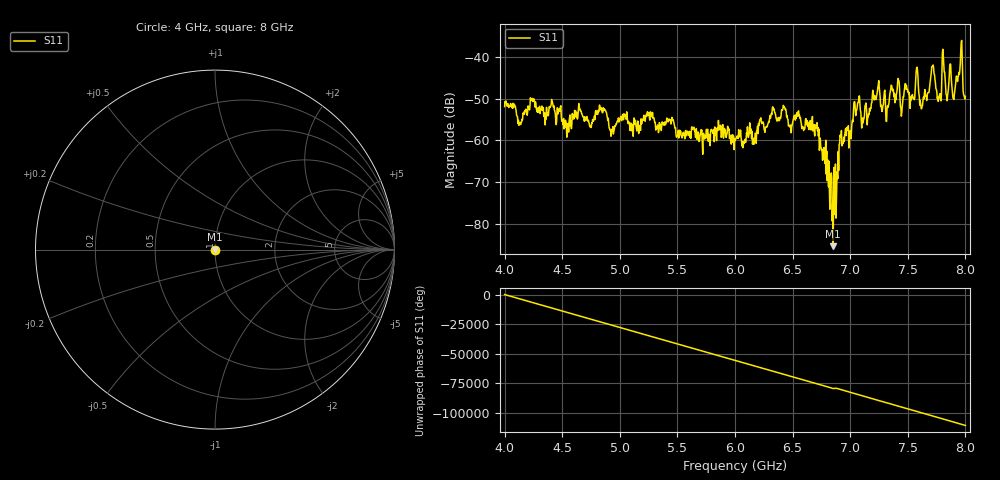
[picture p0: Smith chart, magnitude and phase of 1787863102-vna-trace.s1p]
! Created with skrf 1.10.0 (http://scikit-rf.org).
# Hz S RI R 50.0
!freq ReS11 ImS11
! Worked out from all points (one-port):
!   1001 points, 4 GHz to 8 GHz, reference 50 ohm
!   lowest |S11| = -85.4 dB at 6.852 GHz (marker M1), VSWR 1.00, Z = 50 - j0.00457 ohm
!   |S11| at or under -10 dB: start of sweep to end of sweep
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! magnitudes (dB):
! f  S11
! 4 GHz  -51.9
! 4.136 GHz  -56.0
! 4.24 GHz  -49.9
! 4.5 GHz  -55.1
! 5 GHz  -55.1
! 5.5 GHz  -59.0
! 6 GHz  -60.1
! 6.164 GHz  -60.9
! 6.332 GHz  -52.2
! 6.5 GHz  -55.7
! 6.708 GHz  -56.8
! 6.852 GHz  -85.4
! 6.864 GHz  -67.4
! 6.924 GHz  -57.6
! 7 GHz  -57.6
! 7.06 GHz  -52.2
! 7.108 GHz  -54.6
! 7.236 GHz  -48.3
! 7.324 GHz  -51.7
! 7.5 GHz  -48.3
! 7.58 GHz  -42.4
! 7.624 GHz  -51.9
! 7.716 GHz  -42.2
! 7.772 GHz  -49.4
! 7.812 GHz  -41.8
! 7.9 GHz  -50.1
! 7.956 GHz  -41.3
! 8 GHz  -49.4
